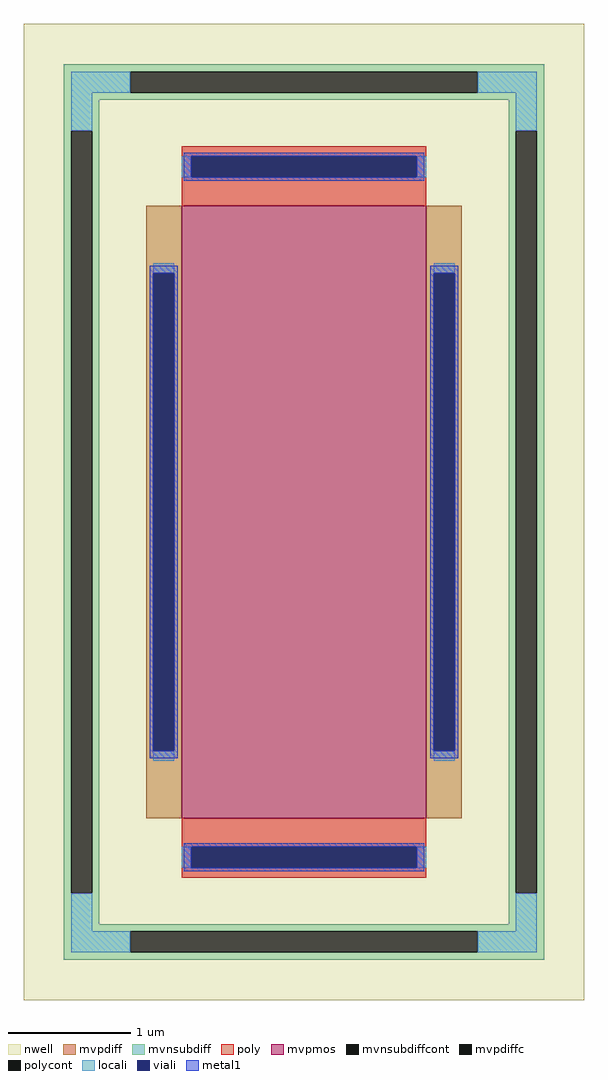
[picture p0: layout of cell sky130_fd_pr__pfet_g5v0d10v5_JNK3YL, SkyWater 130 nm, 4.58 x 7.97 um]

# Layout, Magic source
magic
tech sky130A
magscale 1 2
<< nwell >>
rect -458 -797 458 797
<< mvpmos >>
rect -200 -500 200 500
<< mvpdiff >>
rect -258 390 -200 500
rect -258 -390 -246 390
rect -212 -390 -200 390
rect -258 -500 -200 -390
rect 200 390 258 500
rect 200 -390 212 390
rect 246 -390 258 390
rect 200 -500 258 -390
<< mvpdiffc >>
rect -246 -390 -212 390
rect 212 -390 246 390
<< mvnsubdiff >>
rect -392 719 392 731
rect -392 685 -284 719
rect 284 685 392 719
rect -392 673 392 685
rect -392 623 -334 673
rect -392 -623 -380 623
rect -346 -623 -334 623
rect 334 623 392 673
rect -392 -673 -334 -623
rect 334 -623 346 623
rect 380 -623 392 623
rect 334 -673 392 -623
rect -392 -685 392 -673
rect -392 -719 -284 -685
rect 284 -719 392 -685
rect -392 -731 392 -719
<< mvnsubdiffcont >>
rect -284 685 284 719
rect -380 -623 -346 623
rect 346 -623 380 623
rect -284 -719 284 -685
<< poly >>
rect -200 581 200 597
rect -200 547 -184 581
rect 184 547 200 581
rect -200 500 200 547
rect -200 -547 200 -500
rect -200 -581 -184 -547
rect 184 -581 200 -547
rect -200 -597 200 -581
<< polycont >>
rect -184 547 184 581
rect -184 -581 184 -547
<< locali >>
rect -380 685 -284 719
rect 284 685 380 719
rect -380 623 -346 685
rect 346 623 380 685
rect -200 547 -184 581
rect 184 547 200 581
rect -246 390 -212 406
rect -246 -406 -212 -390
rect 212 390 246 406
rect 212 -406 246 -390
rect -200 -581 -184 -547
rect 184 -581 200 -547
rect -380 -685 -346 -623
rect 346 -685 380 -623
rect -380 -719 -284 -685
rect 284 -719 380 -685
<< viali >>
rect -184 547 184 581
rect -246 -390 -212 390
rect 212 -390 246 390
rect -184 -581 184 -547
<< metal1 >>
rect -196 581 196 587
rect -196 547 -184 581
rect 184 547 196 581
rect -196 541 196 547
rect -252 390 -206 402
rect -252 -390 -246 390
rect -212 -390 -206 390
rect -252 -402 -206 -390
rect 206 390 252 402
rect 206 -390 212 390
rect 246 -390 252 390
rect 206 -402 252 -390
rect -196 -547 196 -541
rect -196 -581 -184 -547
rect 184 -581 196 -547
rect -196 -587 196 -581
<< properties >>
string FIXED_BBOX -363 -702 363 702
string gencell sky130_fd_pr__pfet_g5v0d10v5
string library sky130
string parameters w 5 l 2 m 1 nf 1 diffcov 80 polycov 100 guard 1 glc 1 grc 1 gtc 1 gbc 1 tbcov 100 rlcov 100 topc 1 botc 1 poverlap 0 doverlap 1 lmin 0.50 wmin 0.42 compatible {sky130_fd_pr__pfet_01v8  sky130_fd_pr__pfet_01v8_lvt sky130_fd_pr__pfet_01v8_hvt  sky130_fd_pr__pfet_g5v0d10v5} full_metal 1 viasrc 80 viadrn 80 viagate 100 viagb 0 viagr 0 viagl 0 viagt 0
<< end >>
